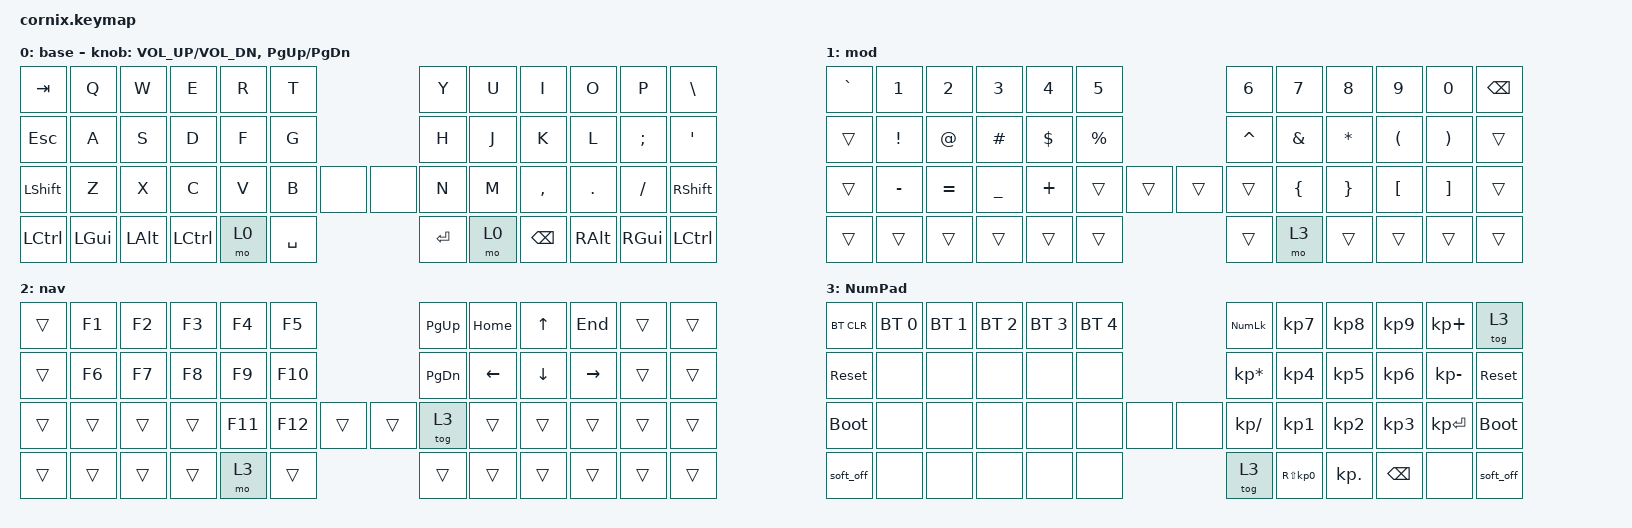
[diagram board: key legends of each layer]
/*
 * Copyright (c) 2020 The ZMK Contributors
 *
 * SPDX-License-Identifier: MIT
 */

#include "zmk-helpers/helper.h"
#include "includes/cornix54.h"

// tap windows for ctl alt and gui

#define HM_TAPPING_TERM 250
#define HM_TAPPING_REPEAT 210

// quick tapping for shift

#define HM_TAPPING_TERM_FAST 200
#define HM_PRIOR_IDLE 70
#define BASE 0
#define WIN 1
#define LOWER 2
#define RAISE 3
#define ADJUST 4
#define NAVI   5
#define NUM    6
#define DEBUG  7

// https://github.com/urob/zmk-config/tree/main#timeless-homerow-mods

#define KEYS_L LT0 LT1 LT2 LT3 LT4 LT5 LM0 LM1 LM2 LM3 LM4 LM5 LB0 LB1 LB2 LB3 LB4 LB5  // left hand
#define KEYS_R RT0 RT1 RT2 RT3 RT4 RT5 RM0 RM1 RM2 RM3 RM4 RM5 RB0 RB1 RB2 RB3 RB4 RB5  // right hand
#define THUMBS LH1 LH0 RH0 RH1
#define KEYS_T LH1 LH0 RH0 RH1
#define ZMK_POINTING_DEFAULT_SCRL_VAL 15

#include <behaviors.dtsi>
#include <dt-bindings/zmk/bt.h>
#include <dt-bindings/zmk/keys.h>

/ {
    // Activate ADJUST layer by pressing raise and lower

    behaviors {
        hm_l: homerow_mods_left {
            compatible = "zmk,behavior-hold-tap";
            #binding-cells = <2>;
            bindings = <&kp>, <&kp>;

            flavor = "balanced";
            tapping-term-ms = <HM_TAPPING_TERM>;
            quick-tap-ms = <200>;                // repeat on tap-into-hold
            require-prior-idle-ms = <HM_PRIOR_IDLE>;
            hold-trigger-key-positions = <KEYS_R KEYS_T>;
            hold-trigger-on-release;
        };

        hm_r: homerow_mods_right {
            compatible = "zmk,behavior-hold-tap";
            #binding-cells = <2>;
            bindings = <&kp>, <&kp>;

            flavor = "balanced";
            tapping-term-ms = <HM_TAPPING_TERM>;
            quick-tap-ms = <200>;
            require-prior-idle-ms = <HM_PRIOR_IDLE>;
            hold-trigger-key-positions = <KEYS_L KEYS_T>;
            hold-trigger-on-release;
        };

        // Positional Homerow mods for shift
        // Use faster tapping term and disable some features that may
        // cause false negatives.

        hm_shift_l: hm_shift_l {
            compatible = "zmk,behavior-hold-tap";
            #binding-cells = <2>;
            bindings = <&kp>, <&kp>;

            //flavor = "balanced";

            flavor = "balanced";
            tapping-term-ms = <HM_TAPPING_TERM_FAST>;
            quick-tap-ms = <200>;
            require-prior-idle-ms = <HM_PRIOR_IDLE>;
            hold-trigger-key-positions = <KEYS_R KEYS_T>;
            hold-trigger-on-release;
        };

        hm_shift_r: hm_shift_r {
            compatible = "zmk,behavior-hold-tap";
            #binding-cells = <2>;
            bindings = <&kp>, <&kp>;

            flavor = "balanced";
            tapping-term-ms = <HM_TAPPING_TERM_FAST>;
            quick-tap-ms = <200>;
            require-prior-idle-ms = <HM_PRIOR_IDLE>;
            hold-trigger-key-positions = <KEYS_L KEYS_T>;

            // for quick tapping; shift+~

            hold-trigger-on-release;
        };

        /*
         * Non-Positional Homerow Mods
         * Used for &mm_grescm_gui behavior on left hand.
         *
         * Usage: &hm LSHFT T
         * Tap: T
         * Tap-Tap-Hold: Repeat T
         * Hold: LSHIFT
         */

        hm: homerow_mods {
            compatible = "zmk,behavior-hold-tap";
            #binding-cells = <2>;
            bindings = <&kp>, <&kp>;

            flavor = "balanced";
            tapping-term-ms = <HM_TAPPING_TERM>;
            quick-tap-ms = <200>;
        };

        lt: layer_tap {
            compatible = "zmk,behavior-hold-tap";
            #binding-cells = <2>;
            bindings = <&mo>, <&kp>;

            flavor = "hold-preferred";
            tapping-term-ms = <HM_TAPPING_TERM>;
            quick-tap-ms = <200>;
        };
    };

    conditional_layers { compatible = "zmk,conditional-layers"; };

    combos {
        compatible = "zmk,combos";

        cb_ltm {
            bindings = <&kp ESC>;
            key-positions = <2 4>;
            layers = <0>;
        };

        cb_lm {
            bindings = <&kp TAB>;
            key-positions = <14 16>;
            layers = <0>;
        };

        cb_enter {
            bindings = <&kp RET>;
            key-positions = <21 19>;
            layers = <0>;
        };

        layer3 {
            bindings = <&kp N3>;
            key-positions = <5 6>;
        };

        layer4 {
            bindings = <&kp N4>;
            key-positions = <5 6>;
        };
    };

    keymap {
        compatible = "zmk,keymap";

        default_layer {
            display-name = "base";

            // ------------------------------------------------------------------------------------------------------------
            // |   `   |  1  |  2  |  3   |  4   |  5   |                   |  6   |  7    |  8    |  9   |   0   |       |
            // |  ESC  |  Q  |  W  |  E   |  R   |  T   |                   |  Y   |  U    |  I    |  O   |   P   | BKSPC |
            // |  TAB  |  A  |  S  |  D   |  F   |  G   |                   |  H   |  J    |  K    |  L   |   ;   |   '   |
            // | SHIFT |  Z  |  X  |  C   |  V   |  B   |  MUTE  |  |       |  N   |  M    |  ,    |  .   |   /   | SHIFT |
            //               | GUI | ALT  | CTRL | LOWER|  ENTER |  | SPACE | RAISE| CTRL  | ALT   | GUI  |

            bindings = <
&kp TAB         &kp Q     &kp W     &kp E      &kp R  &kp T                    &kp Y      &kp U  &kp I      &kp O     &kp P     &kp BSLH
&kp ESC         &kp A     &kp S     &kp D      &kp F  &kp G                    &kp H      &kp J  &kp K      &kp L     &kp SEMI  &kp SQT
&kp LEFT_SHIFT  &kp Z     &kp X     &kp C      &kp V  &kp B      &none  &none  &kp N      &kp M  &kp COMMA  &kp DOT   &kp FSLH  &kp RSHFT
&kp LCTRL       &kp LGUI  &kp LALT  &kp LCTRL  &mo 0  &kp SPACE                &kp ENTER  &mo 0  &kp BSPC   &kp RALT  &kp RGUI  &kp LCTRL
            >;

            sensor-bindings = <&inc_dec_kp C_VOL_UP C_VOL_DN &inc_dec_kp PG_UP PG_DN>;
        };

        mod_layer {
            display-name = "mod";

            // ----------------------------------------------------------------------------------------------------------------------------
            // | BTCLR  |  BT1    |  BT2    |   BT3   |   BT4   |   BT5   |                  |      |      |       |      |       |       |
            // | EXTPWR | BTCLR | RGB_HUI | RGB_SAD | RGB_SAI | RGB_EFF |                  |      |      |       |      |       |       |
            // |        | RGB_BRD | RGB_BRI |         |         |         |                  |      |      |       |      |       |       |
            // |        |         |         |         |         |         | RGB_TOG | |      |      |      |       |      |       |       |
            //                    |         |         |         |         |         | |      |      |      |       |      |

            bindings = <
&kp GRAVE  &kp N1     &kp N2     &kp N3          &kp N4      &kp N5                       &kp N6     &kp N7          &kp N8           &kp N9                &kp N0                 &kp BSPC
&trans     &kp EXCL   &kp AT     &kp POUND       &kp DOLLAR  &kp PERCENT                  &kp CARET  &kp AMPERSAND   &kp ASTERISK     &kp LEFT_PARENTHESIS  &kp RIGHT_PARENTHESIS  &trans
&trans     &kp MINUS  &kp EQUAL  &kp UNDERSCORE  &kp PLUS    &trans       &trans  &trans  &trans     &kp LEFT_BRACE  &kp RIGHT_BRACE  &kp LEFT_BRACKET      &kp RIGHT_BRACKET      &trans
&trans     &trans     &trans     &trans          &trans      &trans                       &trans     &mo 3           &trans           &trans                &trans                 &trans
            >;
        };

        nav_layer {
            display-name = "nav";
            bindings = <
&trans  &kp F1  &kp F2  &kp F3  &kp F4   &kp F5                   &kp PG_UP  &kp HOME  &kp UP    &kp END    &trans  &trans
&trans  &kp F6  &kp F7  &kp F8  &kp F9   &kp F10                  &kp PG_DN  &kp LEFT  &kp DOWN  &kp RIGHT  &trans  &trans
&trans  &trans  &trans  &trans  &kp F11  &kp F12  &trans  &trans  &tog 3     &trans    &trans    &trans     &trans  &trans
&trans  &trans  &trans  &trans  &mo 3    &trans                   &trans     &trans    &trans    &trans     &trans  &trans
            >;
        };

        KeyPad_layer {
            display-name = "NumPad";
            bindings = <
&bt BT_CLR   &bt BT_SEL 0  &bt BT_SEL 1  &bt BT_SEL 2  &bt BT_SEL 3  &bt BT_SEL 4                &kp KP_NUMLOCK   &kp KP_NUMBER_7      &kp KP_NUMBER_8  &kp KP_NUMBER_9  &kp KP_PLUS      &tog 3
&sys_reset   &none         &none         &none         &none         &none                       &kp KP_MULTIPLY  &kp KP_NUMBER_4      &kp KP_NUMBER_5  &kp KP_NUMBER_6  &kp KP_SUBTRACT  &sys_reset
&bootloader  &none         &none         &none         &none         &none         &none  &none  &kp KP_DIVIDE    &kp KP_NUMBER_1      &kp KP_N2        &kp KP_NUMBER_3  &kp KP_ENTER     &bootloader
&soft_off    &none         &none         &none         &none         &none                       &tog 3           &kp RS(KP_NUMBER_0)  &kp KP_DOT       &kp BACKSPACE    &none            &soft_off
            >;
        };
    };
};
